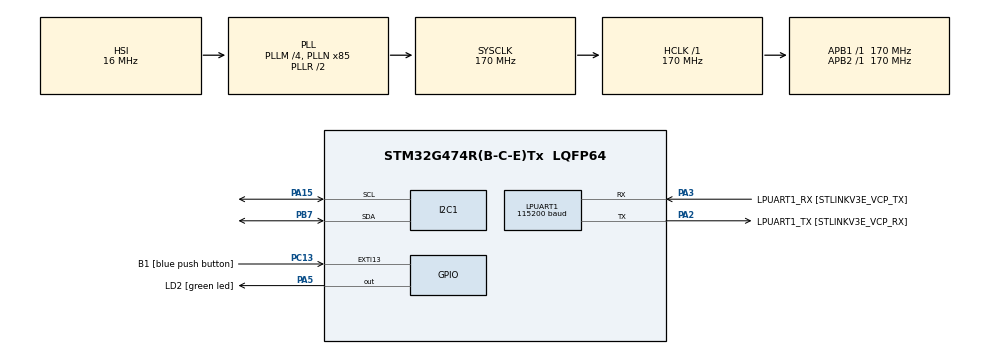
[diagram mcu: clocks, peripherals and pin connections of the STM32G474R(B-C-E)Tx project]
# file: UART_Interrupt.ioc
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Dma.I2C1_TX.0.Direction=DMA_MEMORY_TO_PERIPH
Dma.I2C1_TX.0.EventEnable=DISABLE
Dma.I2C1_TX.0.Instance=DMA1_Channel1
Dma.I2C1_TX.0.MemDataAlignment=DMA_MDATAALIGN_BYTE
Dma.I2C1_TX.0.MemInc=DMA_MINC_ENABLE
Dma.I2C1_TX.0.Mode=DMA_NORMAL
Dma.I2C1_TX.0.PeriphDataAlignment=DMA_PDATAALIGN_BYTE
Dma.I2C1_TX.0.PeriphInc=DMA_PINC_DISABLE
Dma.I2C1_TX.0.Polarity=HAL_DMAMUX_REQ_GEN_RISING
Dma.I2C1_TX.0.Priority=DMA_PRIORITY_LOW
Dma.I2C1_TX.0.RequestNumber=1
Dma.I2C1_TX.0.SignalID=NONE
Dma.I2C1_TX.0.SyncEnable=DISABLE
Dma.I2C1_TX.0.SyncPolarity=HAL_DMAMUX_SYNC_NO_EVENT
Dma.I2C1_TX.0.SyncRequestNumber=1
Dma.I2C1_TX.0.SyncSignalID=NONE
Dma.LPUART1_RX.1.Direction=DMA_PERIPH_TO_MEMORY
Dma.LPUART1_RX.1.EventEnable=DISABLE
Dma.LPUART1_RX.1.Instance=DMA1_Channel2
Dma.LPUART1_RX.1.MemDataAlignment=DMA_MDATAALIGN_BYTE
Dma.LPUART1_RX.1.MemInc=DMA_MINC_ENABLE
Dma.LPUART1_RX.1.Mode=DMA_NORMAL
Dma.LPUART1_RX.1.PeriphDataAlignment=DMA_PDATAALIGN_BYTE
Dma.LPUART1_RX.1.PeriphInc=DMA_PINC_DISABLE
Dma.LPUART1_RX.1.Polarity=HAL_DMAMUX_REQ_GEN_RISING
Dma.LPUART1_RX.1.Priority=DMA_PRIORITY_LOW
Dma.LPUART1_RX.1.RequestNumber=1
Dma.LPUART1_RX.1.SignalID=NONE
Dma.LPUART1_RX.1.SyncEnable=DISABLE
Dma.LPUART1_RX.1.SyncPolarity=HAL_DMAMUX_SYNC_NO_EVENT
Dma.LPUART1_RX.1.SyncRequestNumber=1
Dma.LPUART1_RX.1.SyncSignalID=NONE
Dma.LPUART1_TX.2.Direction=DMA_MEMORY_TO_PERIPH
Dma.LPUART1_TX.2.EventEnable=DISABLE
Dma.LPUART1_TX.2.Instance=DMA1_Channel3
Dma.LPUART1_TX.2.MemDataAlignment=DMA_MDATAALIGN_BYTE
Dma.LPUART1_TX.2.MemInc=DMA_MINC_ENABLE
Dma.LPUART1_TX.2.Mode=DMA_NORMAL
Dma.LPUART1_TX.2.PeriphDataAlignment=DMA_PDATAALIGN_BYTE
Dma.LPUART1_TX.2.PeriphInc=DMA_PINC_DISABLE
Dma.LPUART1_TX.2.Polarity=HAL_DMAMUX_REQ_GEN_RISING
Dma.LPUART1_TX.2.Priority=DMA_PRIORITY_LOW
Dma.LPUART1_TX.2.RequestNumber=1
Dma.LPUART1_TX.2.SignalID=NONE
Dma.LPUART1_TX.2.SyncEnable=DISABLE
Dma.LPUART1_TX.2.SyncPolarity=HAL_DMAMUX_SYNC_NO_EVENT
Dma.LPUART1_TX.2.SyncRequestNumber=1
Dma.LPUART1_TX.2.SyncSignalID=NONE
Dma.Request0=I2C1_TX
Dma.Request1=LPUART1_RX
Dma.Request2=LPUART1_TX
I2C1.Speed=88
I2C1.Timing=0x60605FB0
LPUART1.BaudRate=115200
LPUART1.WordLength=UART_WORDLENGTH_8B
Mcu.Family=STM32G4
Mcu.Name=STM32G474R(B-C-E)Tx
Mcu.Package=LQFP64
NVIC.DMA1_Channel1_IRQn=true\:0\:0\:false\:false\:true\:false\:true
NVIC.DMA1_Channel2_IRQn=true\:0\:0\:false\:false\:true\:false\:true
NVIC.DMA1_Channel3_IRQn=true\:0\:0\:false\:false\:true\:false\:true
NVIC.EXTI15_10_IRQn=true\:0\:0\:false\:false\:true\:true\:true
NVIC.I2C1_ER_IRQn=true\:0\:0\:false\:false\:true\:true\:true
NVIC.I2C1_EV_IRQn=true\:0\:0\:false\:false\:true\:true\:true
NVIC.LPUART1_IRQn=true\:0\:0\:false\:false\:true\:true\:true
NVIC.PriorityGroup=NVIC_PRIORITYGROUP_4
PA13.GPIO_Label=T_SWDIO
PA13.Mode=Serial_Wire
PA13.Signal=SYS_JTMS-SWDIO
PA14.GPIO_Label=T_SWCLK
PA14.Mode=Serial_Wire
PA14.Signal=SYS_JTCK-SWCLK
PA15.Mode=I2C
PA15.Signal=I2C1_SCL
PA2.GPIO_Label=LPUART1_TX [STLINKV3E_VCP_RX]
PA2.Mode=Asynchronous
PA2.Signal=LPUART1_TX
PA3.GPIO_Label=LPUART1_RX [STLINKV3E_VCP_TX]
PA3.Mode=Asynchronous
PA3.Signal=LPUART1_RX
PA5.GPIO_Label=LD2 [green led]
PA5.Signal=GPIO_Output
PB3.GPIO_Label=T_SWO
PB3.Signal=SYS_JTDO-SWO
PB7.Mode=I2C
PB7.Signal=I2C1_SDA
PC13.GPIO_Label=B1 [blue push button]
PC13.Signal=GPXTI13
PC14-OSC32_IN.Mode=LSE-External-Oscillator
PC14-OSC32_IN.Signal=RCC_OSC32_IN
PC15-OSC32_OUT.Mode=LSE-External-Oscillator
PC15-OSC32_OUT.Signal=RCC_OSC32_OUT
PF0-OSC_IN.Mode=HSE-External-Oscillator
PF0-OSC_IN.Signal=RCC_OSC_IN
PF1-OSC_OUT.Mode=HSE-External-Oscillator
PF1-OSC_OUT.Signal=RCC_OSC_OUT
ProjectManager.HeapSize=0x200
ProjectManager.StackSize=0x400
ProjectManager.TargetToolchain=EWARM V8.32
RCC.ADC12Freq_Value=170000000
RCC.ADC345Freq_Value=170000000
RCC.AHBFreq_Value=170000000
RCC.APB1Freq_Value=170000000
RCC.APB1TimFreq_Value=170000000
RCC.APB2Freq_Value=170000000
RCC.APB2TimFreq_Value=170000000
RCC.CortexFreq_Value=170000000
RCC.EXTERNAL_CLOCK_VALUE=12288000
RCC.HCLKFreq_Value=170000000
RCC.HSE_VALUE=24000000
RCC.HSI48_VALUE=48000000
RCC.HSI_VALUE=16000000
RCC.PLLM=RCC_PLLM_DIV4
RCC.PLLN=85
RCC.RTCClockSelection=RCC_RTCCLKSOURCE_LSE
RCC.SYSCLKFreq_VALUE=170000000
RCC.SYSCLKSource=RCC_SYSCLKSOURCE_PLLCLK
RCC.USBFreq_Value=170000000
RCC.VCOOutputFreq_Value=340000000
VP_SYS_VS_DBSignals.Mode=DisableDeadBatterySignals
board=NUCLEO-G474RE

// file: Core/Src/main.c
/* USER CODE BEGIN Header */
/**
  ******************************************************************************
  * @file           : main.c
  * @brief          : Main program body
  ******************************************************************************
  * @attentionF
  *
  * <h2><center>&copy; Copyright (c) 2021 STMicroelectronics.
  * All rights reserved.</center></h2>
  *
  * This software component is licensed by ST under BSD 3-Clause license,
  * the "License"; You may not use this file except in compliance with the
  * License. You may obtain a copy of the License at:
  *                        opensource.org/licenses/BSD-3-Clause
  *
  ******************************************************************************
  */
/* USER CODE END Header */
#include "main.h"

/* USER CODE BEGIN Includes */
#include <stdio.h>
#include <string.h>
#include <time.h>
#include "ssd1306.h"
#include "fonts.h"
#include "Tetris.h"

/* USER CODE END Includes */

/* USER CODE BEGIN PTD */

enum states {
  initPrint,
  playGame,
  endPrint
};

char KeyState='n';
extern uint32_t currentTick;
volatile int flag=1; // 게임 시작

// UART 통신 위한 변수
uint8_t rx_buff;
char tx_buff;
char tmp;

/* USER CODE END PTD */

I2C_HandleTypeDef hi2c1;
DMA_HandleTypeDef hdma_i2c1_tx;

UART_HandleTypeDef hlpuart1;
DMA_HandleTypeDef hdma_lpuart1_rx;
DMA_HandleTypeDef hdma_lpuart1_tx;

/* USER CODE BEGIN PV */

extern int beforePosition_X;
extern int beforePosition_Y;

/* USER CODE END PV */

void SystemClock_Config(void);
static void MX_GPIO_Init(void);
static void MX_DMA_Init(void);
static void MX_LPUART1_UART_Init(void);
static void MX_I2C1_Init(void);

int main(void)
{

  /* MCU Configuration--------------------------------------------------------*/

  /* Reset of all peripherals, Initializes the Flash interface and the Systick. */
  HAL_Init();

  /* Configure the system clock */
  SystemClock_Config();

  /* Initialize all configured peripherals */
  MX_GPIO_Init();
  MX_DMA_Init();
  MX_LPUART1_UART_Init();
  MX_I2C1_Init();
  /* USER CODE BEGIN 2 */

  HAL_UART_Receive_DMA (&hlpuart1, &rx_buff, 1); // UART Receive 설정
  uint8_t str[] = "UART uploade check\n\r";
  HAL_UART_Transmit(&hlpuart1, (uint8_t*)str, sizeof(str), 100); //  UART 업로드 확인

  srand(time(NULL)); // 난수발생

  SSD1306_Init();
  SSD1306_Fill(SSD1306_COLOR_BLACK);

  enum states state = initPrint;

  /* USER CODE END 2 */

  /* Infinite loop */
  while (1){

    /* USER CODE BEGIN 3 */

    switch(state){

    case initPrint :
        PrintScreen(1); // 초기 시작화면
        if (flag==0){
           currentTick = HAL_GetTick();
           CreateRandomForm();
           state = playGame;
        }
        break;

    case playGame :
          DrawMap(); // Map[15][7] 현재상태 디스플레이 표시 함수
          keyProcess();
          DrawBlock(); // 현재 컨트롤하는 블럭  디스플레이 표시 함수
          DropBlock(); // 현재 컨트롤하는 블록 떨어트리는 함수
          BlockToGround(); // 바닥과 닿았는지 판단하여 Map에 표시하는 함수
          RemoveLine(); // 채워진 줄이 있는지 판단하는 함수
          SSD1306_UpdateScreen(); // 디스플레이 상태 업데이트 함수*/
          if(Gameover()==true)
            state = endPrint;
          break;

    case endPrint :
        PrintScreen(0);
        HAL_Delay(100);
        flag=1;
        state = initPrint;
        break;

    }
  }
  /* USER CODE END 3 */
}

void SystemClock_Config(void)
{
  RCC_OscInitTypeDef RCC_OscInitStruct = {0};
  RCC_ClkInitTypeDef RCC_ClkInitStruct = {0};
  RCC_PeriphCLKInitTypeDef PeriphClkInit = {0};

  /** Configure the main internal regulator output voltage
  */
  HAL_PWREx_ControlVoltageScaling(PWR_REGULATOR_VOLTAGE_SCALE1_BOOST);
  /** Initializes the RCC Oscillators according to the specified parameters
  * in the RCC_OscInitTypeDef structure.
  */
  RCC_OscInitStruct.OscillatorType = RCC_OSCILLATORTYPE_HSI;
  RCC_OscInitStruct.HSIState = RCC_HSI_ON;
  RCC_OscInitStruct.HSICalibrationValue = RCC_HSICALIBRATION_DEFAULT;
  RCC_OscInitStruct.PLL.PLLState = RCC_PLL_ON;
  RCC_OscInitStruct.PLL.PLLSource = RCC_PLLSOURCE_HSI;
  RCC_OscInitStruct.PLL.PLLM = RCC_PLLM_DIV4;
  RCC_OscInitStruct.PLL.PLLN = 85;
  RCC_OscInitStruct.PLL.PLLP = RCC_PLLP_DIV2;
  RCC_OscInitStruct.PLL.PLLQ = RCC_PLLQ_DIV2;
  RCC_OscInitStruct.PLL.PLLR = RCC_PLLR_DIV2;
  if (HAL_RCC_OscConfig(&RCC_OscInitStruct) != HAL_OK)
  {
    Error_Handler();
  }
  /** Initializes the CPU, AHB and APB buses clocks
  */
  RCC_ClkInitStruct.ClockType = RCC_CLOCKTYPE_HCLK|RCC_CLOCKTYPE_SYSCLK
                              |RCC_CLOCKTYPE_PCLK1|RCC_CLOCKTYPE_PCLK2;
  RCC_ClkInitStruct.SYSCLKSource = RCC_SYSCLKSOURCE_PLLCLK;
  RCC_ClkInitStruct.AHBCLKDivider = RCC_SYSCLK_DIV1;
  RCC_ClkInitStruct.APB1CLKDivider = RCC_HCLK_DIV1;
  RCC_ClkInitStruct.APB2CLKDivider = RCC_HCLK_DIV1;

  if (HAL_RCC_ClockConfig(&RCC_ClkInitStruct, FLASH_LATENCY_4) != HAL_OK)
  {
    Error_Handler();
  }
  /** Initializes the peripherals clocks
  */
  PeriphClkInit.PeriphClockSelection = RCC_PERIPHCLK_LPUART1|RCC_PERIPHCLK_I2C1;
  PeriphClkInit.Lpuart1ClockSelection = RCC_LPUART1CLKSOURCE_PCLK1;
  PeriphClkInit.I2c1ClockSelection = RCC_I2C1CLKSOURCE_PCLK1;
  if (HAL_RCCEx_PeriphCLKConfig(&PeriphClkInit) != HAL_OK)
  {
    Error_Handler();
  }
}

static void MX_I2C1_Init(void)
{

  hi2c1.Instance = I2C1;
  hi2c1.Init.Timing = 0x60605FB0;
  hi2c1.Init.OwnAddress1 = 0;
  hi2c1.Init.AddressingMode = I2C_ADDRESSINGMODE_7BIT;
  hi2c1.Init.DualAddressMode = I2C_DUALADDRESS_DISABLE;
  hi2c1.Init.OwnAddress2 = 0;
  hi2c1.Init.OwnAddress2Masks = I2C_OA2_NOMASK;
  hi2c1.Init.GeneralCallMode = I2C_GENERALCALL_DISABLE;
  hi2c1.Init.NoStretchMode = I2C_NOSTRETCH_DISABLE;
  if (HAL_I2C_Init(&hi2c1) != HAL_OK)
  {
    Error_Handler();
  }
  /** Configure Analogue filter
  */
  if (HAL_I2CEx_ConfigAnalogFilter(&hi2c1, I2C_ANALOGFILTER_ENABLE) != HAL_OK)
  {
    Error_Handler();
  }
  /** Configure Digital filter
  */
  if (HAL_I2CEx_ConfigDigitalFilter(&hi2c1, 0) != HAL_OK)
  {
    Error_Handler();
  }

}

static void MX_LPUART1_UART_Init(void)
{

  hlpuart1.Instance = LPUART1;
  hlpuart1.Init.BaudRate = 115200;
  hlpuart1.Init.WordLength = UART_WORDLENGTH_8B;
  hlpuart1.Init.StopBits = UART_STOPBITS_1;
  hlpuart1.Init.Parity = UART_PARITY_NONE;
  hlpuart1.Init.Mode = UART_MODE_TX_RX;
  hlpuart1.Init.HwFlowCtl = UART_HWCONTROL_NONE;
  hlpuart1.Init.OneBitSampling = UART_ONE_BIT_SAMPLE_DISABLE;
  hlpuart1.Init.ClockPrescaler = UART_PRESCALER_DIV1;
  hlpuart1.AdvancedInit.AdvFeatureInit = UART_ADVFEATURE_NO_INIT;
  if (HAL_UART_Init(&hlpuart1) != HAL_OK)
  {
    Error_Handler();
  }
  if (HAL_UARTEx_SetTxFifoThreshold(&hlpuart1, UART_TXFIFO_THRESHOLD_1_8) != HAL_OK)
  {
    Error_Handler();
  }
  if (HAL_UARTEx_SetRxFifoThreshold(&hlpuart1, UART_RXFIFO_THRESHOLD_1_8) != HAL_OK)
  {
    Error_Handler();
  }
  if (HAL_UARTEx_DisableFifoMode(&hlpuart1) != HAL_OK)
  {
    Error_Handler();
  }

}

static void MX_DMA_Init(void)
{

  /* DMA controller clock enable */
  __HAL_RCC_DMAMUX1_CLK_ENABLE();
  __HAL_RCC_DMA1_CLK_ENABLE();

  /* DMA interrupt init */
  /* DMA1_Channel1_IRQn interrupt configuration */
  HAL_NVIC_SetPriority(DMA1_Channel1_IRQn, 0, 0);
  HAL_NVIC_EnableIRQ(DMA1_Channel1_IRQn);
  /* DMA1_Channel2_IRQn interrupt configuration */
  HAL_NVIC_SetPriority(DMA1_Channel2_IRQn, 0, 0);
  HAL_NVIC_EnableIRQ(DMA1_Channel2_IRQn);
  /* DMA1_Channel3_IRQn interrupt configuration */
  HAL_NVIC_SetPriority(DMA1_Channel3_IRQn, 0, 0);
  HAL_NVIC_EnableIRQ(DMA1_Channel3_IRQn);

}

static void MX_GPIO_Init(void)
{
  GPIO_InitTypeDef GPIO_InitStruct = {0};

  /* GPIO Ports Clock Enable */
  __HAL_RCC_GPIOC_CLK_ENABLE();
  __HAL_RCC_GPIOF_CLK_ENABLE();
  __HAL_RCC_GPIOA_CLK_ENABLE();
  __HAL_RCC_GPIOB_CLK_ENABLE();

  /*Configure GPIO pin Output Level */
  HAL_GPIO_WritePin(LD2_GPIO_Port, LD2_Pin, GPIO_PIN_RESET);

  /*Configure GPIO pin : B1_Pin */
  GPIO_InitStruct.Pin = B1_Pin;
  GPIO_InitStruct.Mode = GPIO_MODE_IT_RISING;
  GPIO_InitStruct.Pull = GPIO_NOPULL;
  HAL_GPIO_Init(B1_GPIO_Port, &GPIO_InitStruct);

  /*Configure GPIO pin : LD2_Pin */
  GPIO_InitStruct.Pin = LD2_Pin;
  GPIO_InitStruct.Mode = GPIO_MODE_OUTPUT_PP;
  GPIO_InitStruct.Pull = GPIO_NOPULL;
  GPIO_InitStruct.Speed = GPIO_SPEED_FREQ_LOW;
  HAL_GPIO_Init(LD2_GPIO_Port, &GPIO_InitStruct);

  /* EXTI interrupt init*/
  HAL_NVIC_SetPriority(EXTI15_10_IRQn, 0, 0);
  HAL_NVIC_EnableIRQ(EXTI15_10_IRQn);

}

/* USER CODE BEGIN 4 */
void USART1_IRQHandler(void){
  HAL_UART_IRQHandler(&hlpuart1);
}

// UART receive Callback 함수
void HAL_UART_RxCpltCallback(UART_HandleTypeDef *huart){
  if(huart->Instance == LPUART1){
    if (tx_buff=='q') {flag=0;
    }// q 입력시 flag=0전환 --> 게임시작
    tx_buff=  (char) rx_buff;
    KeyState= (char) rx_buff;
    HAL_UART_Transmit_DMA(&hlpuart1, &rx_buff, sizeof(rx_buff));

    // UART Receive 다시 설정
    HAL_UART_Receive_DMA(&hlpuart1, &rx_buff, 1);}
}

/* USER CODE END 4 */

void Error_Handler(void)
{
  __disable_irq();
  while (1)
  {
  }
}

/************************ (C) COPYRIGHT STMicroelectronics *****END OF FILE****/
